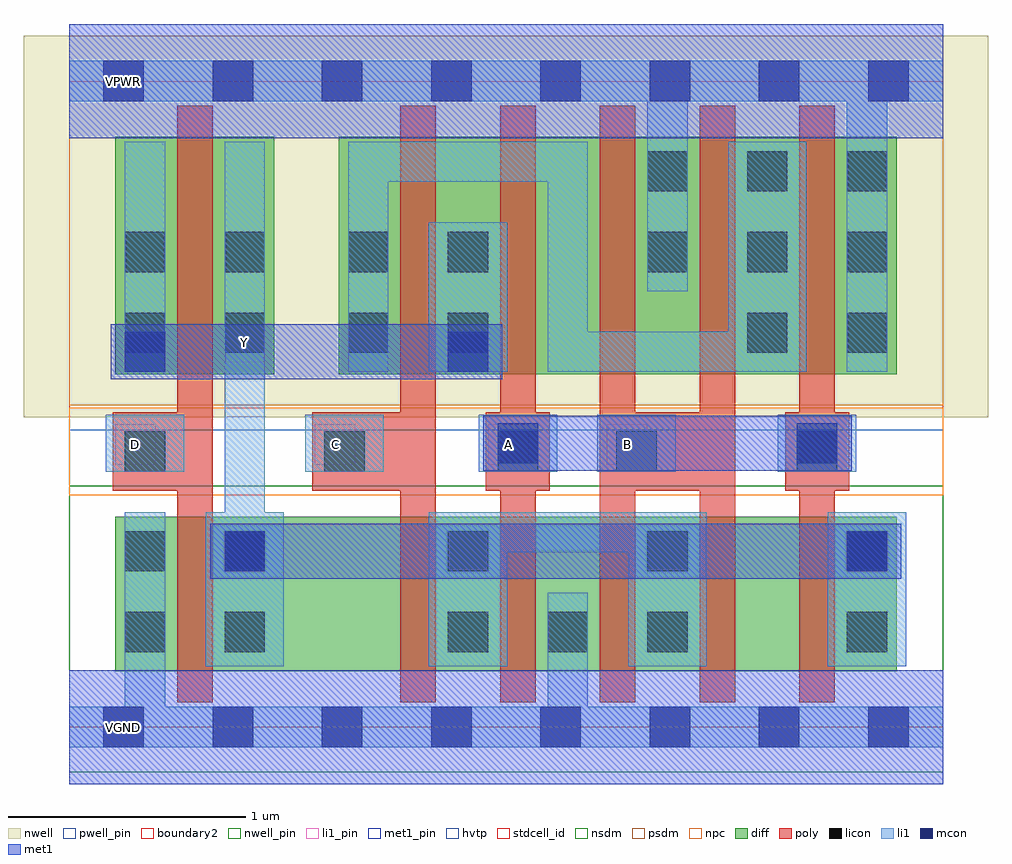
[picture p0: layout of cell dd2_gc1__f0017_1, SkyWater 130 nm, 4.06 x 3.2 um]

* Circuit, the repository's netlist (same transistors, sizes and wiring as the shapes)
.subckt dd2_gc1__f0017_1 A B C D VGND VNB VPB VPWR Y
X0 Y D VGND VNB sky130_fd_pr__nfet_01v8 w=0.65 l=0.15
X1 Y C n1 VNB sky130_fd_pr__nfet_01v8 w=0.65 l=0.15
X2 Y A n2 VNB sky130_fd_pr__nfet_01v8 w=0.65 l=0.15
X3 n2 B n1 VNB sky130_fd_pr__nfet_01v8 w=0.65 l=0.15
X4 n1 A VGND VNB sky130_fd_pr__nfet_01v8 w=0.65 l=0.15
X5 n1 B VGND VNB sky130_fd_pr__nfet_01v8 w=0.65 l=0.15
X6 Y D p1 VPB sky130_fd_pr__pfet_01v8_hvt w=1 l=0.15
X7 p1 A p2 VPB sky130_fd_pr__pfet_01v8_hvt w=1 l=0.15
X8 p2 B VPWR VPB sky130_fd_pr__pfet_01v8_hvt w=1 l=0.15
X9 p1 C p3 VPB sky130_fd_pr__pfet_01v8_hvt w=1 l=0.15
X10 p3 A VPWR VPB sky130_fd_pr__pfet_01v8_hvt w=1 l=0.15
X11 p3 B VPWR VPB sky130_fd_pr__pfet_01v8_hvt w=1 l=0.15
.ends

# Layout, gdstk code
import gdstk
lib = gdstk.Library(unit=1e-6, precision=1e-09)
def R(c, l, rs):  # rectangles x0, y0, x1, y1
    for r in rs: c.add(gdstk.rectangle(r[:2], r[2:], *l))
def A(c, l, x, y, w, h, nx, ny, dx, dy):  # array of equal rectangles
    R(c, l, [(x+i*dx, y+j*dy, x+i*dx+w, y+j*dy+h) for i in range(nx) for j in range(ny)])
nwell_pin = (64, 16)
nwell = (64, 20)
diff = (65, 20)
poly = (66, 20)
licon = (66, 44)
li1_pin = (67, 16)
li1 = (67, 20)
mcon = (67, 44)
met1_pin = (68, 16)
met1 = (68, 20)
hvtp = (78, 44)
stdcell_id = (81, 4)
nsdm = (93, 44)
psdm = (94, 20)
npc = (95, 20)
pwell_pin = (122, 16)
boundary2 = (236, 0)

dd2_gc1__f0017_1 = lib.new_cell('dd2_gc1__f0017_1')
R(dd2_gc1__f0017_1, nwell_pin, [(0.145,2.635,0.315,2.805)])
R(dd2_gc1__f0017_1, nwell, [(-0.19,1.305,3.87,2.91)])
R(dd2_gc1__f0017_1, diff, [(0.195,0.235,3.485,0.885), (0.195,1.485,0.865,2.485), (1.135,1.485,3.485,2.485)])
A(dd2_gc1__f0017_1, poly, 1.395, 0.105, 0.15, 2.51, 5, 1, 0.42, 0)
R(dd2_gc1__f0017_1, poly, [(0.455,0.105,0.605,2.615), (0.185,0.995,0.605,1.325), (1.025,0.995,1.545,1.325), (1.755,0.995,2.025,1.325), (2.235,0.995,2.805,1.325), (3.015,0.995,3.285,1.325)])
A(dd2_gc1__f0017_1, licon, 1.595, 0.315, 0.17, 0.17, 3, 1, 0.42, 0)
A(dd2_gc1__f0017_1, licon, 1.595, 0.655, 0.17, 0.17, 3, 1, 0.84, 0)
A(dd2_gc1__f0017_1, licon, 2.435, 1.915, 0.17, 0.17, 3, 2, 0.42, 0.34)
R(dd2_gc1__f0017_1, licon, [(0.235,0.315,0.405,0.485), (0.655,0.315,0.825,0.485), (3.275,0.315,3.445,0.485), (0.235,0.655,0.405,0.825), (0.655,0.655,0.825,0.825), (0.235,1.075,0.405,1.245), (1.075,1.075,1.245,1.245), (1.805,1.075,1.975,1.245), (2.305,1.075,2.475,1.245), (3.065,1.075,3.235,1.245), (0.235,1.575,0.405,1.745), (0.655,1.575,0.825,1.745), (1.175,1.575,1.345,1.745), (1.595,1.575,1.765,1.745), (2.855,1.575,3.025,1.745), (3.275,1.575,3.445,1.745), (0.235,1.915,0.405,2.085), (0.655,1.915,0.825,2.085), (1.175,1.915,1.345,2.085), (1.595,1.915,1.765,2.085)])
R(dd2_gc1__f0017_1, li1_pin, [(0.195,1.105,0.365,1.275), (1.035,1.105,1.205,1.275), (1.765,1.105,1.935,1.275), (2.265,1.105,2.435,1.275), (0.66,1.535,0.82,1.705)])
A(dd2_gc1__f0017_1, li1, 1.515, 0.255, 0.33, 0.65, 3, 1, 0.84, 0)
R(dd2_gc1__f0017_1, li1, [(0,-0.085,3.68,0.085), (0.235,-0.085,0.405,0.905), (2.015,-0.085,2.185,0.565), (0.575,0.255,0.905,0.905), (1.515,0.735,2.685,0.905), (0.655,0.895,0.825,1.505), (0.155,1.075,0.485,1.315), (0.995,1.075,1.325,1.315), (1.725,1.075,2.055,1.315), (2.225,1.075,2.555,1.315), (2.985,1.075,3.315,1.315), (0.235,1.495,0.405,2.465), (0.655,1.495,0.825,2.465), (1.175,1.495,1.345,2.465), (1.515,1.495,1.845,2.125), (2.015,1.495,2.185,2.465), (2.015,1.495,3.105,1.665), (2.775,1.495,3.105,2.465), (3.275,1.495,3.445,2.805), (2.435,1.835,2.605,2.805), (1.175,2.295,2.185,2.465), (0,2.635,3.68,2.805)])
A(dd2_gc1__f0017_1, mcon, 0.145, -0.085, 0.17, 0.17, 8, 2, 0.46, 2.72)
R(dd2_gc1__f0017_1, mcon, [(0.655,0.655,0.825,0.825), (3.275,0.655,3.445,0.825), (1.805,1.11,1.975,1.28), (3.065,1.11,3.235,1.28), (0.235,1.495,0.405,1.665), (1.595,1.495,1.765,1.665)])
R(dd2_gc1__f0017_1, met1_pin, [(0.145,-0.085,0.315,0.085), (0.145,2.635,0.315,2.805)])
R(dd2_gc1__f0017_1, met1, [(0,-0.24,3.68,0.24), (0.595,0.625,3.505,0.855), (1.745,1.08,3.295,1.31), (0.175,1.465,1.825,1.695), (0,2.48,3.68,2.96)])
R(dd2_gc1__f0017_1, hvtp, [(0,1.25,3.68,2.72)])
R(dd2_gc1__f0017_1, stdcell_id, [(0,0,3.68,2.72)])
R(dd2_gc1__f0017_1, nsdm, [(0,-0.19,3.68,1.015)])
R(dd2_gc1__f0017_1, psdm, [(0,1.355,3.68,2.91)])
R(dd2_gc1__f0017_1, npc, [(0,0.975,3.68,1.345)])
R(dd2_gc1__f0017_1, pwell_pin, [(0.145,-0.085,0.315,0.085)])
R(dd2_gc1__f0017_1, boundary2, [(0,0,3.68,2.72)])
dd2_gc1__f0017_1.add(gdstk.Label('D', (0.28,1.19), layer=67, texttype=5))
dd2_gc1__f0017_1.add(gdstk.Label('C', (1.12,1.19), layer=67, texttype=5))
dd2_gc1__f0017_1.add(gdstk.Label('A', (1.85,1.19), layer=67, texttype=5))
dd2_gc1__f0017_1.add(gdstk.Label('B', (2.35,1.19), layer=67, texttype=5))
dd2_gc1__f0017_1.add(gdstk.Label('Y', (0.74,1.62), layer=67, texttype=5))
dd2_gc1__f0017_1.add(gdstk.Label('VGND', (0.23,0), layer=68, texttype=5))
dd2_gc1__f0017_1.add(gdstk.Label('VPWR', (0.23,2.72), layer=68, texttype=5))
dd2_gc1__f0017_1.add(gdstk.Label('VPB', (0.23,2.72), layer=64, texttype=5))
dd2_gc1__f0017_1.add(gdstk.Label('VNB', (0.23,0), layer=64, texttype=59))

lib.write_gds('dd2_gc1__f0017_1.gds')
